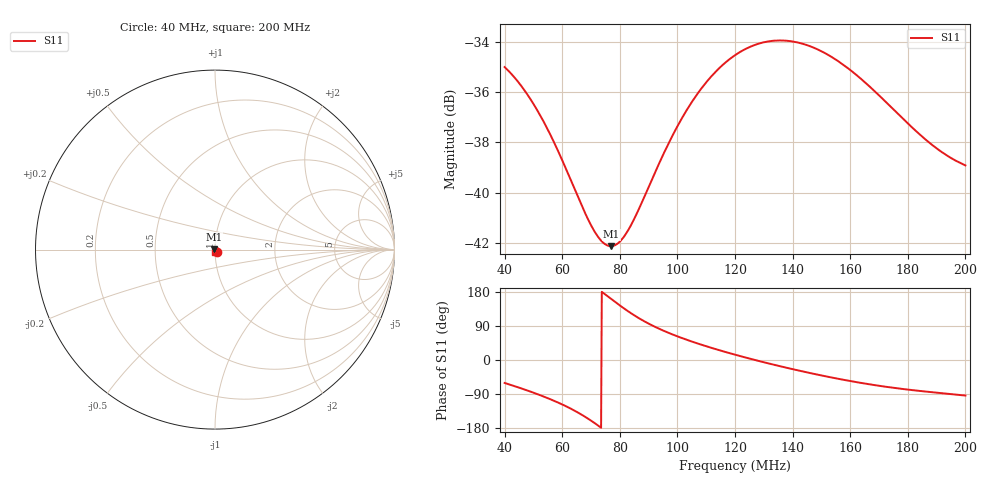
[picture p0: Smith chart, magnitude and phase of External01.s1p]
# Hz S RI R 50
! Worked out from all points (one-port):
!   641 points, 40 MHz to 200 MHz, reference 50 ohm
!   lowest |S11| = -42.1 dB at 77 MHz (marker M1), VSWR 1.02, Z = 49.3 + j0.248 ohm
!   |S11| at or under -10 dB: start of sweep to end of sweep
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4e7  0.00875 -0.0155
4.475e7  0.00506 -0.0158
4.975e7  0.0012 -0.0151
5.475e7  -0.00234 -0.0132
6e7  -0.00532 -0.0103
6.725e7  -0.00775 -0.00511
7.075e7  -0.00812 -0.00236
7.4e7  -0.00796 0.000213
7.7e7  -0.0074 0.00251
8e7  -0.00646 0.00468
8.225e7  -0.00553 0.00618
8.475e7  -0.00429 0.00769
9.5e7  0.0025 0.0116
1e8  0.00628 0.012
1.0475e8  0.00982 0.0114
1.0975e8  0.0132 0.00993
1.1475e8  0.016 0.00762
1.2e8  0.0182 0.00456
1.2475e8  0.0194 0.00147
1.2975e8  0.0198 -0.0019
1.3475e8  0.0194 -0.00514
1.4e8  0.0183 -0.0082
1.4975e8  0.0146 -0.0124
1.6e8  0.00995 -0.0145
1.6725e8  0.00688 -0.0146
1.8e8  0.00283 -0.0134
1.9075e8  0.000695 -0.0121
2e8  -0.00076 -0.0113
